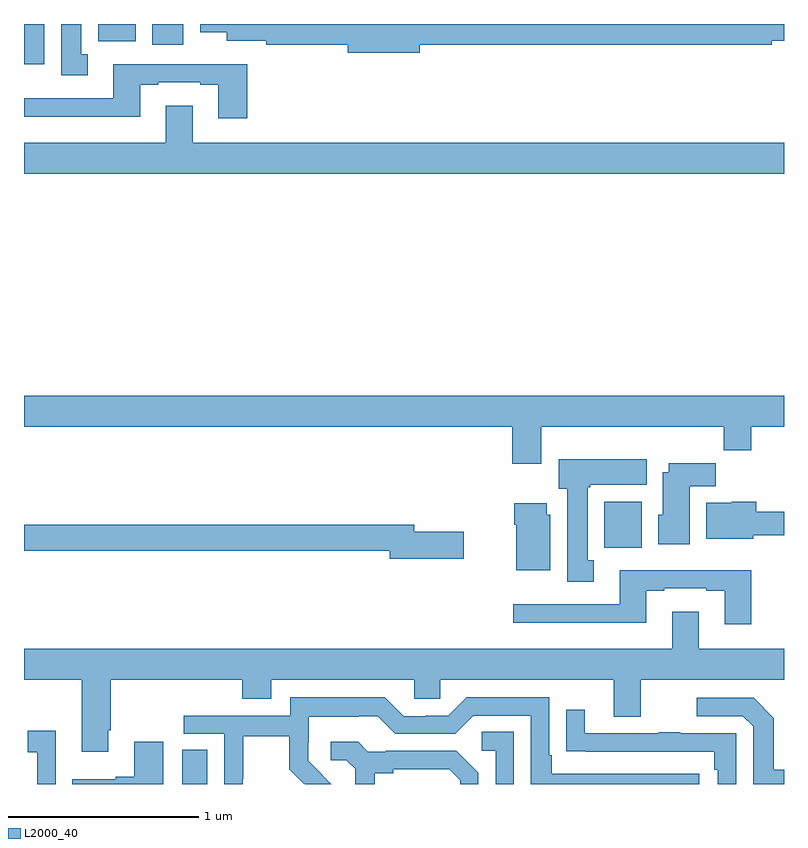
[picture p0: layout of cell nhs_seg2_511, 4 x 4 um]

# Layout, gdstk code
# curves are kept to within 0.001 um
import gdstk
lib = gdstk.Library(unit=1e-6, precision=1e-09)
def R(c, l, rs):  # rectangles x0, y0, x1, y1
    for r in rs: c.add(gdstk.rectangle(r[:2], r[2:], *l))
def P(c, l, *ps):  # polygons
    for p in ps: c.add(gdstk.Polygon(p, *l))
L2000_40 = (2000, 40)

nhs_seg2_511 = lib.new_cell('nhs_seg2_511')
R(nhs_seg2_511, L2000_40, [(137.834,601.8,137.965,601.979), (140.054,603.044,140.251,603.286), (137,605.588,137.107,605.8), (137.675,605.691,137.839,605.8), (137.39,605.708,137.587,605.8)])
P(nhs_seg2_511, L2000_40, [(139.084,605.692),(140.936,605.692),(140.936,605.711),(141,605.711),(141,605.8),(137.927,605.8),(137.927,605.756),(138.068,605.756),(138.068,605.712),(138.274,605.712),(138.274,605.692),(138.704,605.692),(138.704,605.65),(139.084,605.65)],
  [(137.335,605.642),(137.302,605.642),(137.302,605.8),(137.195,605.8),(137.195,605.529),(137.335,605.529)],
  [(138.176,605.589),(137.471,605.589),(137.471,605.409),(137,605.409),(137,605.312),(137.611,605.312),(137.611,605.481),(137.707,605.481),(137.707,605.493),(137.927,605.493),(137.927,605.481),(138.023,605.481),(138.023,605.304),(138.176,605.304)],
  [(141,605.176),(137.887,605.176),(137.887,605.371),(137.747,605.371),(137.747,605.176),(137,605.176),(137,605.012),(141,605.012)],
  [(139.723,603.68),(140.683,603.68),(140.683,603.556),(140.827,603.556),(140.827,603.68),(141,603.68),(141,603.844),(137,603.844),(137,603.68),(139.571,603.68),(139.571,603.486),(139.723,603.486)],
  [(139.999,602.978),(139.966,602.978),(139.966,603.361),(139.98,603.361),(139.98,603.374),(140.278,603.374),(140.278,603.508),(139.814,603.508),(139.814,603.354),(139.859,603.354),(139.859,602.865),(139.999,602.865)],
  [(140.503,603.368),(140.642,603.368),(140.642,603.487),(140.393,603.487),(140.393,603.442),(140.363,603.442),(140.363,603.216),(140.339,603.216),(140.339,603.062),(140.503,603.062)],
  [(140.838,603.11),(141,603.11),(141,603.232),(140.855,603.232),(140.855,603.286),(140.724,603.286),(140.724,603.28),(140.591,603.28),(140.591,603.092),(140.838,603.092)],
  [(139.771,603.216),(139.75,603.216),(139.75,603.277),(139.58,603.277),(139.58,603.164),(139.592,603.164),(139.592,602.924),(139.771,602.924)],
  [(139.315,603.128),(139.054,603.128),(139.054,603.164),(137,603.164),(137,603.028),(138.926,603.028),(138.926,602.986),(139.315,602.986)],
  [(140.827,602.926),(140.135,602.926),(140.135,602.745),(139.575,602.745),(139.575,602.648),(140.275,602.648),(140.275,602.817),(140.371,602.817),(140.371,602.829),(140.591,602.829),(140.591,602.817),(140.687,602.817),(140.687,602.64),(140.827,602.64)],
  [(137.443,602.083),(137.456,602.083),(137.456,602.348),(138.149,602.348),(138.149,602.249),(138.301,602.249),(138.301,602.348),(139.053,602.348),(139.053,602.25),(139.191,602.25),(139.191,602.348),(140.105,602.348),(140.105,602.154),(140.245,602.154),(140.245,602.348),(141,602.348),(141,602.512),(140.551,602.512),(140.551,602.707),(140.411,602.707),(140.411,602.512),(137,602.512),(137,602.348),(137.303,602.348),(137.303,601.971),(137.443,601.971)],
  [(138.15,601.828),(138.153,601.828),(138.153,602.052),(138.397,602.052),(138.397,601.877),(138.474,601.8),(138.477,601.803),(138.48,601.8),(138.616,601.8),(138.496,601.922),(138.496,602.019),(138.498,602.019),(138.498,602.153),(138.761,602.153),(138.761,602.157),(138.861,602.157),(138.954,602.064),(139.269,602.064),(139.365,602.16),(139.668,602.16),(139.668,601.8),(140.554,601.8),(140.554,601.854),(139.777,601.854),(139.777,601.951),(139.764,601.951),(139.764,602.256),(139.329,602.256),(139.233,602.16),(139.115,602.16),(139.115,602.157),(138.999,602.157),(138.899,602.257),(138.402,602.257),(138.402,602.16),(137.841,602.16),(137.841,602.064),(138.054,602.064),(138.054,601.8),(138.15,601.8)],
  [(141,601.875),(140.947,601.875),(140.947,602.147),(140.841,602.253),(140.541,602.253),(140.541,602.157),(140.784,602.157),(140.838,602.103),(140.838,601.8),(141,601.8)],
  [(140.748,602.067),(140.453,602.067),(140.453,602.072),(140.341,602.072),(140.341,602.067),(139.951,602.067),(139.951,602.191),(139.855,602.191),(139.855,601.972),(139.957,601.972),(139.957,601.971),(140.632,601.971),(140.632,601.874),(140.652,601.874),(140.652,601.8),(140.748,601.8)],
  [(137.166,602.08),(137.019,602.08),(137.019,601.967),(137.07,601.967),(137.07,601.8),(137.166,601.8)],
  [(139.578,602.075),(139.41,602.075),(139.41,601.974),(139.482,601.974),(139.482,601.8),(139.578,601.8)],
  [(138.847,601.856),(138.943,601.856),(138.943,601.878),(139.238,601.878),(139.295,601.821),(139.295,601.8),(139.392,601.8),(139.392,601.858),(139.276,601.974),(138.904,601.974),(138.904,601.971),(138.81,601.971),(138.758,602.023),(138.615,602.023),(138.615,601.926),(138.696,601.926),(138.743,601.879),(138.743,601.8),(138.847,601.8)],
  [(137.734,602.023),(137.579,602.023),(137.579,601.838),(137.483,601.838),(137.483,601.825),(137.253,601.825),(137.253,601.8),(137.734,601.8)])

lib.write_gds('nhs_seg2_511.gds')
